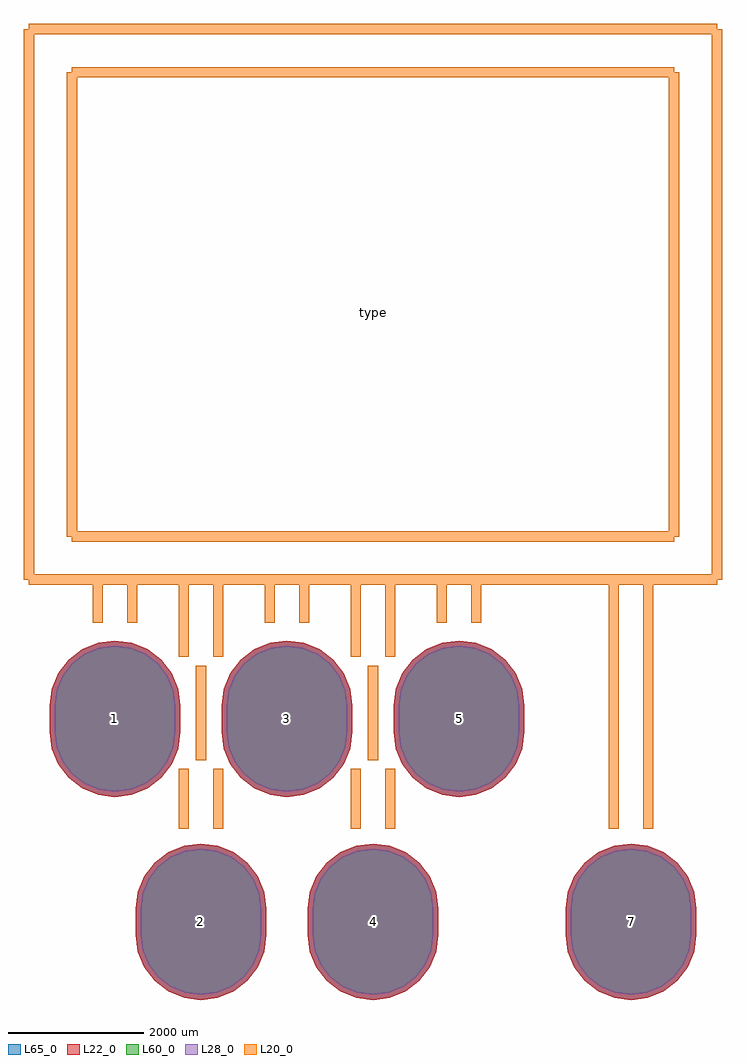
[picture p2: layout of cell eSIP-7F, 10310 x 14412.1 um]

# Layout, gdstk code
import gdstk
lib = gdstk.Library(unit=1e-6, precision=1e-09)
def P(c, l, *ps):  # polygons
    for p in ps: c.add(gdstk.Polygon(p, *l))
L20_0 = (20, 0)
L22_0 = (22, 0)
L28_0 = (28, 0)
L60_0 = (60, 0)
L65_0 = (65, 0)

esip_7f = lib.new_cell('eSIP-7F')
P(esip_7f, L22_0, [(3810,-2653.1),(4059.502,-2620.252),(4292,-2523.948),(4491.651,-2370.751),(4644.848,-2171.1),(4741.152,-1938.602),(4774,-1689.1),(4774,-1308.1),(4741.152,-1058.598),(4644.848,-826.1),(4491.651,-626.449),(4292,-473.252),(4059.502,-376.948),(3810,-344.1),(3560.498,-376.948),(3328,-473.252),(3128.349,-626.449),(2975.152,-826.1),(2878.848,-1058.598),(2846,-1308.1),(2846,-1689.1),(2878.848,-1938.602),(2975.152,-2171.1),(3128.349,-2370.751),(3328,-2523.948),(3560.498,-2620.252)],
  [(1270,344.1),(1519.502,376.948),(1752,473.252),(1951.651,626.449),(2104.848,826.1),(2201.152,1058.598),(2234,1308.1),(2234,1689.1),(2201.152,1938.602),(2104.848,2171.1),(1951.651,2370.751),(1752,2523.948),(1519.502,2620.252),(1270,2653.1),(1020.498,2620.252),(788,2523.948),(588.349,2370.751),(435.152,2171.1),(338.848,1938.602),(306,1689.1),(306,1308.1),(338.848,1058.598),(435.152,826.1),(588.349,626.449),(788,473.252),(1020.498,376.948)],
  [(0,-2653.1),(249.502,-2620.252),(482,-2523.948),(681.651,-2370.751),(834.848,-2171.1),(931.152,-1938.602),(964,-1689.1),(964,-1308.1),(931.152,-1058.598),(834.848,-826.1),(681.651,-626.449),(482,-473.252),(249.502,-376.948),(0,-344.1),(-249.502,-376.948),(-482,-473.252),(-681.651,-626.449),(-834.848,-826.1),(-931.152,-1058.598),(-964,-1308.1),(-964,-1689.1),(-931.152,-1938.602),(-834.848,-2171.1),(-681.651,-2370.751),(-482,-2523.948),(-249.502,-2620.252)],
  [(-1270,344.1),(-1020.498,376.948),(-788,473.252),(-588.349,626.449),(-435.152,826.1),(-338.848,1058.598),(-306,1308.1),(-306,1689.1),(-338.848,1938.602),(-435.152,2171.1),(-588.349,2370.751),(-788,2523.948),(-1020.498,2620.252),(-1270,2653.1),(-1519.502,2620.252),(-1752,2523.948),(-1951.651,2370.751),(-2104.848,2171.1),(-2201.152,1938.602),(-2234,1689.1),(-2234,1308.1),(-2201.152,1058.598),(-2104.848,826.1),(-1951.651,626.449),(-1752,473.252),(-1519.502,376.948)],
  [(-2540,-2653.1),(-2290.498,-2620.252),(-2058,-2523.948),(-1858.349,-2370.751),(-1705.152,-2171.1),(-1608.848,-1938.602),(-1576,-1689.1),(-1576,-1308.1),(-1608.848,-1058.598),(-1705.152,-826.1),(-1858.349,-626.449),(-2058,-473.252),(-2290.498,-376.948),(-2540,-344.1),(-2789.502,-376.948),(-3022,-473.252),(-3221.651,-626.449),(-3374.848,-826.1),(-3471.152,-1058.598),(-3504,-1308.1),(-3504,-1689.1),(-3471.152,-1938.602),(-3374.848,-2171.1),(-3221.651,-2370.751),(-3022,-2523.948),(-2789.502,-2620.252)],
  [(-3810,344.1),(-3560.498,376.948),(-3328,473.252),(-3128.349,626.449),(-2975.152,826.1),(-2878.848,1058.598),(-2846,1308.1),(-2846,1689.1),(-2878.848,1938.602),(-2975.152,2171.1),(-3128.349,2370.751),(-3328,2523.948),(-3560.498,2620.252),(-3810,2653.1),(-4059.502,2620.252),(-4292,2523.948),(-4491.651,2370.751),(-4644.848,2171.1),(-4741.152,1938.602),(-4774,1689.1),(-4774,1308.1),(-4741.152,1058.598),(-4644.848,826.1),(-4491.651,626.449),(-4292,473.252),(-4059.502,376.948)])
P(esip_7f, L28_0, [(3810,-2578.1),(4040.09,-2547.808),(4254.5,-2458.997),(4438.618,-2317.718),(4579.897,-2133.6),(4668.708,-1919.19),(4699,-1689.1),(4699,-1308.1),(4668.708,-1078.01),(4579.897,-863.6),(4438.618,-679.482),(4254.5,-538.203),(4040.09,-449.392),(3810,-419.1),(3579.91,-449.392),(3365.5,-538.203),(3181.382,-679.482),(3040.103,-863.6),(2951.292,-1078.01),(2921,-1308.1),(2921,-1689.1),(2951.292,-1919.19),(3040.103,-2133.6),(3181.382,-2317.718),(3365.5,-2458.997),(3579.91,-2547.808)],
  [(1270,419.1),(1500.09,449.392),(1714.5,538.203),(1898.618,679.482),(2039.897,863.6),(2128.708,1078.01),(2159,1308.1),(2159,1689.1),(2128.708,1919.19),(2039.897,2133.6),(1898.618,2317.718),(1714.5,2458.997),(1500.09,2547.808),(1270,2578.1),(1039.91,2547.808),(825.5,2458.997),(641.382,2317.718),(500.103,2133.6),(411.292,1919.19),(381,1689.1),(381,1308.1),(411.292,1078.01),(500.103,863.6),(641.382,679.482),(825.5,538.203),(1039.91,449.392)],
  [(0,-2578.1),(230.09,-2547.808),(444.5,-2458.997),(628.618,-2317.718),(769.897,-2133.6),(858.708,-1919.19),(889,-1689.1),(889,-1308.1),(858.708,-1078.01),(769.897,-863.6),(628.618,-679.482),(444.5,-538.203),(230.09,-449.392),(0,-419.1),(-230.09,-449.392),(-444.5,-538.203),(-628.618,-679.482),(-769.897,-863.6),(-858.708,-1078.01),(-889,-1308.1),(-889,-1689.1),(-858.708,-1919.19),(-769.897,-2133.6),(-628.618,-2317.718),(-444.5,-2458.997),(-230.09,-2547.808)],
  [(-1270,419.1),(-1039.91,449.392),(-825.5,538.203),(-641.382,679.482),(-500.103,863.6),(-411.292,1078.01),(-381,1308.1),(-381,1689.1),(-411.292,1919.19),(-500.103,2133.6),(-641.382,2317.718),(-825.5,2458.997),(-1039.91,2547.808),(-1270,2578.1),(-1500.09,2547.808),(-1714.5,2458.997),(-1898.618,2317.718),(-2039.897,2133.6),(-2128.708,1919.19),(-2159,1689.1),(-2159,1308.1),(-2128.708,1078.01),(-2039.897,863.6),(-1898.618,679.482),(-1714.5,538.203),(-1500.09,449.392)],
  [(-2540,-2578.1),(-2309.91,-2547.808),(-2095.5,-2458.997),(-1911.382,-2317.718),(-1770.103,-2133.6),(-1681.292,-1919.19),(-1651,-1689.1),(-1651,-1308.1),(-1681.292,-1078.01),(-1770.103,-863.6),(-1911.382,-679.482),(-2095.5,-538.203),(-2309.91,-449.392),(-2540,-419.1),(-2770.09,-449.392),(-2984.5,-538.203),(-3168.618,-679.482),(-3309.897,-863.6),(-3398.708,-1078.01),(-3429,-1308.1),(-3429,-1689.1),(-3398.708,-1919.19),(-3309.897,-2133.6),(-3168.618,-2317.718),(-2984.5,-2458.997),(-2770.09,-2547.808)],
  [(-3810,419.1),(-3579.91,449.392),(-3365.5,538.203),(-3181.382,679.482),(-3040.103,863.6),(-2951.292,1078.01),(-2921,1308.1),(-2921,1689.1),(-2951.292,1919.19),(-3040.103,2133.6),(-3181.382,2317.718),(-3365.5,2458.997),(-3579.91,2547.808),(-3810,2578.1),(-4040.09,2547.808),(-4254.5,2458.997),(-4438.618,2317.718),(-4579.897,2133.6),(-4668.708,1919.19),(-4699,1689.1),(-4699,1308.1),(-4668.708,1078.01),(-4579.897,863.6),(-4438.618,679.482),(-4254.5,538.203),(-4040.09,449.392)])
P(esip_7f, L60_0, [(3810,-2578.1),(4040.09,-2547.808),(4254.5,-2458.997),(4438.618,-2317.718),(4579.897,-2133.6),(4668.708,-1919.19),(4699,-1689.1),(4699,-1308.1),(4668.708,-1078.01),(4579.897,-863.6),(4438.618,-679.482),(4254.5,-538.203),(4040.09,-449.392),(3810,-419.1),(3579.91,-449.392),(3365.5,-538.203),(3181.382,-679.482),(3040.103,-863.6),(2951.292,-1078.01),(2921,-1308.1),(2921,-1689.1),(2951.292,-1919.19),(3040.103,-2133.6),(3181.382,-2317.718),(3365.5,-2458.997),(3579.91,-2547.808)],
  [(1270,419.1),(1500.09,449.392),(1714.5,538.203),(1898.618,679.482),(2039.897,863.6),(2128.708,1078.01),(2159,1308.1),(2159,1689.1),(2128.708,1919.19),(2039.897,2133.6),(1898.618,2317.718),(1714.5,2458.997),(1500.09,2547.808),(1270,2578.1),(1039.91,2547.808),(825.5,2458.997),(641.382,2317.718),(500.103,2133.6),(411.292,1919.19),(381,1689.1),(381,1308.1),(411.292,1078.01),(500.103,863.6),(641.382,679.482),(825.5,538.203),(1039.91,449.392)],
  [(0,-2578.1),(230.09,-2547.808),(444.5,-2458.997),(628.618,-2317.718),(769.897,-2133.6),(858.708,-1919.19),(889,-1689.1),(889,-1308.1),(858.708,-1078.01),(769.897,-863.6),(628.618,-679.482),(444.5,-538.203),(230.09,-449.392),(0,-419.1),(-230.09,-449.392),(-444.5,-538.203),(-628.618,-679.482),(-769.897,-863.6),(-858.708,-1078.01),(-889,-1308.1),(-889,-1689.1),(-858.708,-1919.19),(-769.897,-2133.6),(-628.618,-2317.718),(-444.5,-2458.997),(-230.09,-2547.808)],
  [(-1270,419.1),(-1039.91,449.392),(-825.5,538.203),(-641.382,679.482),(-500.103,863.6),(-411.292,1078.01),(-381,1308.1),(-381,1689.1),(-411.292,1919.19),(-500.103,2133.6),(-641.382,2317.718),(-825.5,2458.997),(-1039.91,2547.808),(-1270,2578.1),(-1500.09,2547.808),(-1714.5,2458.997),(-1898.618,2317.718),(-2039.897,2133.6),(-2128.708,1919.19),(-2159,1689.1),(-2159,1308.1),(-2128.708,1078.01),(-2039.897,863.6),(-1898.618,679.482),(-1714.5,538.203),(-1500.09,449.392)],
  [(-2540,-2578.1),(-2309.91,-2547.808),(-2095.5,-2458.997),(-1911.382,-2317.718),(-1770.103,-2133.6),(-1681.292,-1919.19),(-1651,-1689.1),(-1651,-1308.1),(-1681.292,-1078.01),(-1770.103,-863.6),(-1911.382,-679.482),(-2095.5,-538.203),(-2309.91,-449.392),(-2540,-419.1),(-2770.09,-449.392),(-2984.5,-538.203),(-3168.618,-679.482),(-3309.897,-863.6),(-3398.708,-1078.01),(-3429,-1308.1),(-3429,-1689.1),(-3398.708,-1919.19),(-3309.897,-2133.6),(-3168.618,-2317.718),(-2984.5,-2458.997),(-2770.09,-2547.808)],
  [(-3810,419.1),(-3579.91,449.392),(-3365.5,538.203),(-3181.382,679.482),(-3040.103,863.6),(-2951.292,1078.01),(-2921,1308.1),(-2921,1689.1),(-2951.292,1919.19),(-3040.103,2133.6),(-3181.382,2317.718),(-3365.5,2458.997),(-3579.91,2547.808),(-3810,2578.1),(-4040.09,2547.808),(-4254.5,2458.997),(-4438.618,2317.718),(-4579.897,2133.6),(-4668.708,1919.19),(-4699,1689.1),(-4699,1308.1),(-4668.708,1078.01),(-4579.897,863.6),(-4438.618,679.482),(-4254.5,538.203),(-4040.09,449.392)])
P(esip_7f, L65_0, [(3810,-2653.1),(4059.502,-2620.252),(4292,-2523.948),(4491.651,-2370.751),(4644.848,-2171.1),(4741.152,-1938.602),(4774,-1689.1),(4774,-1308.1),(4741.152,-1058.598),(4644.848,-826.1),(4491.651,-626.449),(4292,-473.252),(4059.502,-376.948),(3810,-344.1),(3560.498,-376.948),(3328,-473.252),(3128.349,-626.449),(2975.152,-826.1),(2878.848,-1058.598),(2846,-1308.1),(2846,-1689.1),(2878.848,-1938.602),(2975.152,-2171.1),(3128.349,-2370.751),(3328,-2523.948),(3560.498,-2620.252)],
  [(1270,344.1),(1519.502,376.948),(1752,473.252),(1951.651,626.449),(2104.848,826.1),(2201.152,1058.598),(2234,1308.1),(2234,1689.1),(2201.152,1938.602),(2104.848,2171.1),(1951.651,2370.751),(1752,2523.948),(1519.502,2620.252),(1270,2653.1),(1020.498,2620.252),(788,2523.948),(588.349,2370.751),(435.152,2171.1),(338.848,1938.602),(306,1689.1),(306,1308.1),(338.848,1058.598),(435.152,826.1),(588.349,626.449),(788,473.252),(1020.498,376.948)],
  [(0,-2653.1),(249.502,-2620.252),(482,-2523.948),(681.651,-2370.751),(834.848,-2171.1),(931.152,-1938.602),(964,-1689.1),(964,-1308.1),(931.152,-1058.598),(834.848,-826.1),(681.651,-626.449),(482,-473.252),(249.502,-376.948),(0,-344.1),(-249.502,-376.948),(-482,-473.252),(-681.651,-626.449),(-834.848,-826.1),(-931.152,-1058.598),(-964,-1308.1),(-964,-1689.1),(-931.152,-1938.602),(-834.848,-2171.1),(-681.651,-2370.751),(-482,-2523.948),(-249.502,-2620.252)],
  [(-1270,344.1),(-1020.498,376.948),(-788,473.252),(-588.349,626.449),(-435.152,826.1),(-338.848,1058.598),(-306,1308.1),(-306,1689.1),(-338.848,1938.602),(-435.152,2171.1),(-588.349,2370.751),(-788,2523.948),(-1020.498,2620.252),(-1270,2653.1),(-1519.502,2620.252),(-1752,2523.948),(-1951.651,2370.751),(-2104.848,2171.1),(-2201.152,1938.602),(-2234,1689.1),(-2234,1308.1),(-2201.152,1058.598),(-2104.848,826.1),(-1951.651,626.449),(-1752,473.252),(-1519.502,376.948)],
  [(-2540,-2653.1),(-2290.498,-2620.252),(-2058,-2523.948),(-1858.349,-2370.751),(-1705.152,-2171.1),(-1608.848,-1938.602),(-1576,-1689.1),(-1576,-1308.1),(-1608.848,-1058.598),(-1705.152,-826.1),(-1858.349,-626.449),(-2058,-473.252),(-2290.498,-376.948),(-2540,-344.1),(-2789.502,-376.948),(-3022,-473.252),(-3221.651,-626.449),(-3374.848,-826.1),(-3471.152,-1058.598),(-3504,-1308.1),(-3504,-1689.1),(-3471.152,-1938.602),(-3374.848,-2171.1),(-3221.651,-2370.751),(-3022,-2523.948),(-2789.502,-2620.252)],
  [(-3810,344.1),(-3560.498,376.948),(-3328,473.252),(-3128.349,626.449),(-2975.152,826.1),(-2878.848,1058.598),(-2846,1308.1),(-2846,1689.1),(-2878.848,1938.602),(-2975.152,2171.1),(-3128.349,2370.751),(-3328,2523.948),(-3560.498,2620.252),(-3810,2653.1),(-4059.502,2620.252),(-4292,2523.948),(-4491.651,2370.751),(-4644.848,2171.1),(-4741.152,1938.602),(-4774,1689.1),(-4774,1308.1),(-4741.152,1058.598),(-4644.848,826.1),(-4491.651,626.449),(-4292,473.252),(-4059.502,376.948)])
esip_7f.add(gdstk.FlexPath([(-254,762),(-254,-127)], 149.998, ends="flush", simple_path=True, layer=20, datatype=0))  # L20_0
esip_7f.add(gdstk.FlexPath([(-2794,-127),(-2794,762)], 149.998, ends="flush", simple_path=True, layer=20, datatype=0))  # L20_0
esip_7f.add(gdstk.FlexPath([(3556,-127),(3556,762)], 149.998, ends="flush", simple_path=True, layer=20, datatype=0))  # L20_0
esip_7f.add(gdstk.FlexPath([(-2286,762),(-2286,-127)], 149.998, ends="flush", simple_path=True, layer=20, datatype=0))  # L20_0
esip_7f.add(gdstk.FlexPath([(254,762),(254,-127)], 149.998, ends="flush", simple_path=True, layer=20, datatype=0))  # L20_0
esip_7f.add(gdstk.FlexPath([(4064,-127),(4064,762)], 149.998, ends="flush", simple_path=True, layer=20, datatype=0))  # L20_0
esip_7f.add(gdstk.FlexPath([(-5080,3556),(5080,3556)], 149.998, ends="flush", simple_path=True, layer=20, datatype=0))  # L20_0
esip_7f.add(gdstk.FlexPath([(-5080,11684),(-5080,3556)], 149.998, ends="flush", simple_path=True, layer=20, datatype=0))  # L20_0
esip_7f.add(gdstk.FlexPath([(5080,11684),(-5080,11684)], 149.998, ends="flush", simple_path=True, layer=20, datatype=0))  # L20_0
esip_7f.add(gdstk.FlexPath([(5080,3556),(5080,11684)], 149.998, ends="flush", simple_path=True, layer=20, datatype=0))  # L20_0
esip_7f.add(gdstk.FlexPath([(-2794,2413),(-2794,3556)], 149.998, ends="flush", simple_path=True, layer=20, datatype=0))  # L20_0
esip_7f.add(gdstk.FlexPath([(-2286,2413),(-2286,3556)], 149.998, ends="flush", simple_path=True, layer=20, datatype=0))  # L20_0
esip_7f.add(gdstk.FlexPath([(-254,2413),(-254,3556)], 149.998, ends="flush", simple_path=True, layer=20, datatype=0))  # L20_0
esip_7f.add(gdstk.FlexPath([(254,2413),(254,3556)], 149.998, ends="flush", simple_path=True, layer=20, datatype=0))  # L20_0
esip_7f.add(gdstk.FlexPath([(0,889),(0,2286)], 149.998, ends="flush", simple_path=True, layer=20, datatype=0))  # L20_0
esip_7f.add(gdstk.FlexPath([(-2540,889),(-2540,2286)], 149.998, ends="flush", simple_path=True, layer=20, datatype=0))  # L20_0
esip_7f.add(gdstk.FlexPath([(-3556,2921),(-3556,3556)], 149.998, ends="flush", simple_path=True, layer=20, datatype=0))  # L20_0
esip_7f.add(gdstk.FlexPath([(-4064,2921),(-4064,3556)], 149.998, ends="flush", simple_path=True, layer=20, datatype=0))  # L20_0
esip_7f.add(gdstk.FlexPath([(-1524,2921),(-1524,3556)], 149.998, ends="flush", simple_path=True, layer=20, datatype=0))  # L20_0
esip_7f.add(gdstk.FlexPath([(-1016,2921),(-1016,3556)], 149.998, ends="flush", simple_path=True, layer=20, datatype=0))  # L20_0
esip_7f.add(gdstk.FlexPath([(1016,2921),(1016,3556)], 149.998, ends="flush", simple_path=True, layer=20, datatype=0))  # L20_0
esip_7f.add(gdstk.FlexPath([(1524,2921),(1524,3556)], 149.998, ends="flush", simple_path=True, layer=20, datatype=0))  # L20_0
esip_7f.add(gdstk.FlexPath([(3556,762),(3556,3556)], 149.998, ends="flush", simple_path=True, layer=20, datatype=0))  # L20_0
esip_7f.add(gdstk.FlexPath([(4064,762),(4064,3556)], 149.998, ends="flush", simple_path=True, layer=20, datatype=0))  # L20_0
esip_7f.add(gdstk.FlexPath([(-4445,11049),(-4445,4191)], 149.998, ends="flush", simple_path=True, layer=20, datatype=0))  # L20_0
esip_7f.add(gdstk.FlexPath([(4445,11049),(-4445,11049)], 149.998, ends="flush", simple_path=True, layer=20, datatype=0))  # L20_0
esip_7f.add(gdstk.FlexPath([(4445,4191),(4445,11049)], 149.998, ends="flush", simple_path=True, layer=20, datatype=0))  # L20_0
esip_7f.add(gdstk.FlexPath([(-4445,4191),(4445,4191)], 149.998, ends="flush", simple_path=True, layer=20, datatype=0))  # L20_0
esip_7f.add(gdstk.Label('7', (3810,-1498.6), layer=28, texttype=0))
esip_7f.add(gdstk.Label('5', (1270,1498.6), layer=28, texttype=0))
esip_7f.add(gdstk.Label('4', (0,-1498.6), layer=28, texttype=0))
esip_7f.add(gdstk.Label('3', (-1270,1498.6), layer=28, texttype=0))
esip_7f.add(gdstk.Label('2', (-2540,-1498.6), layer=28, texttype=0))
esip_7f.add(gdstk.Label('1', (-3810,1498.6), layer=28, texttype=0))
esip_7f.add(gdstk.Label('type', (0,7493), layer=9, texttype=0))
esip_7f.add(gdstk.Label('devicename', (0,7493), layer=9, texttype=0))

lib.write_gds('eSIP-7F.gds')
